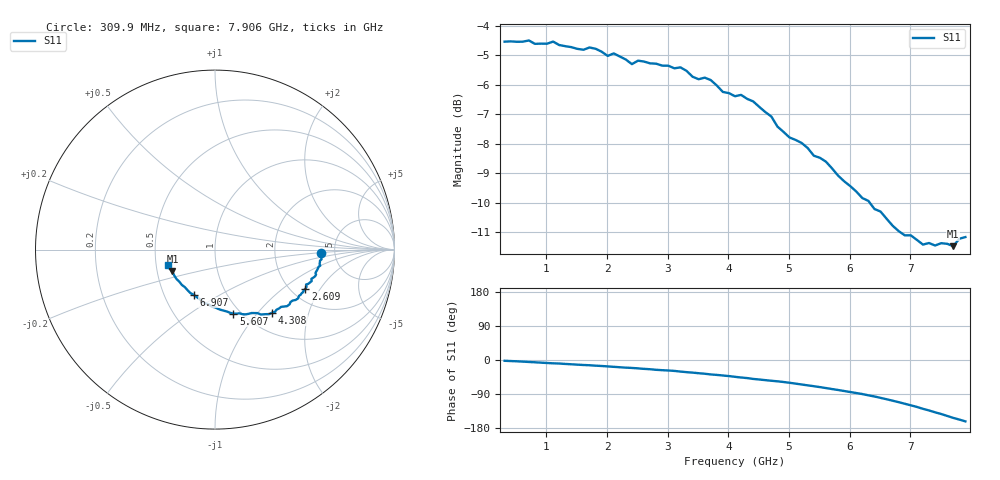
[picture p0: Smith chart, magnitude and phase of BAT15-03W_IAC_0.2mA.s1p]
! Infineon Technologies  Discrete & RF Semiconductors
! BAT15-03W-E6327
! IAC = 0.2 mA
! One-Port S-Parameters
# Hz  S  MA  R  50
!f  S11
!Hz  Mag  Ang
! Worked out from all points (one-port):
!   77 points, 309.9 MHz to 7.906 GHz, reference 50 ohm
!   lowest |S11| = -11.5 dB at 7.706 GHz (marker M1), VSWR 1.73, Z = 30.1 - j7.89 ohm
!   |S11| at or under -10 dB: 6.328 GHz to end of sweep
!   S11 on the Smith chart (normalised r, x): 309.9 MHz: 3.90, -0.26; 2.609 GHz: 2.38, -1.48; 4.308 GHz: 1.32, -1.20; 5.607 GHz: 0.92, -0.76; 6.907 GHz: 0.70, -0.38; 7.906 GHz: 0.58, -0.11
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3.0985e8  0.5932 -2.1
1.10945e9  0.5934 -8.7
1.30935e9  0.5829 -10.4
1.6092e9  0.5747 -13.2
1.70915e9  0.5799 -13.9
2.009e9  0.5611 -16.9
2.10895e9  0.5666 -18.1
2.2089e9  0.5598 -19.1
2.4088e9  0.5433 -20.9
2.6087e9  0.5488 -23.4
3.10845e9  0.5345 -28.8
3.2084e9  0.5365 -30.5
3.4083e9  0.5172 -33.3
3.70815e9  0.5105 -38.1
3.90805e9  0.4873 -40.9
4.10795e9  0.4792 -44.4
4.30785e9  0.4744 -47.7
4.4078e9  0.4696 -50.0
5.10745e9  0.404 -62.4
5.6072e9  0.371 -74.0
6.007e9  0.3373 -84.5
6.50675e9  0.3053 -99.9
6.90655e9  0.2782 -115.4
7.0065e9  0.2782 -119.6
7.2064e9  0.2683 -128.8
7.50625e9  0.2698 -142.5
7.70615e9  0.2666 -152.8
7.90605e9  0.2763 -162.0
